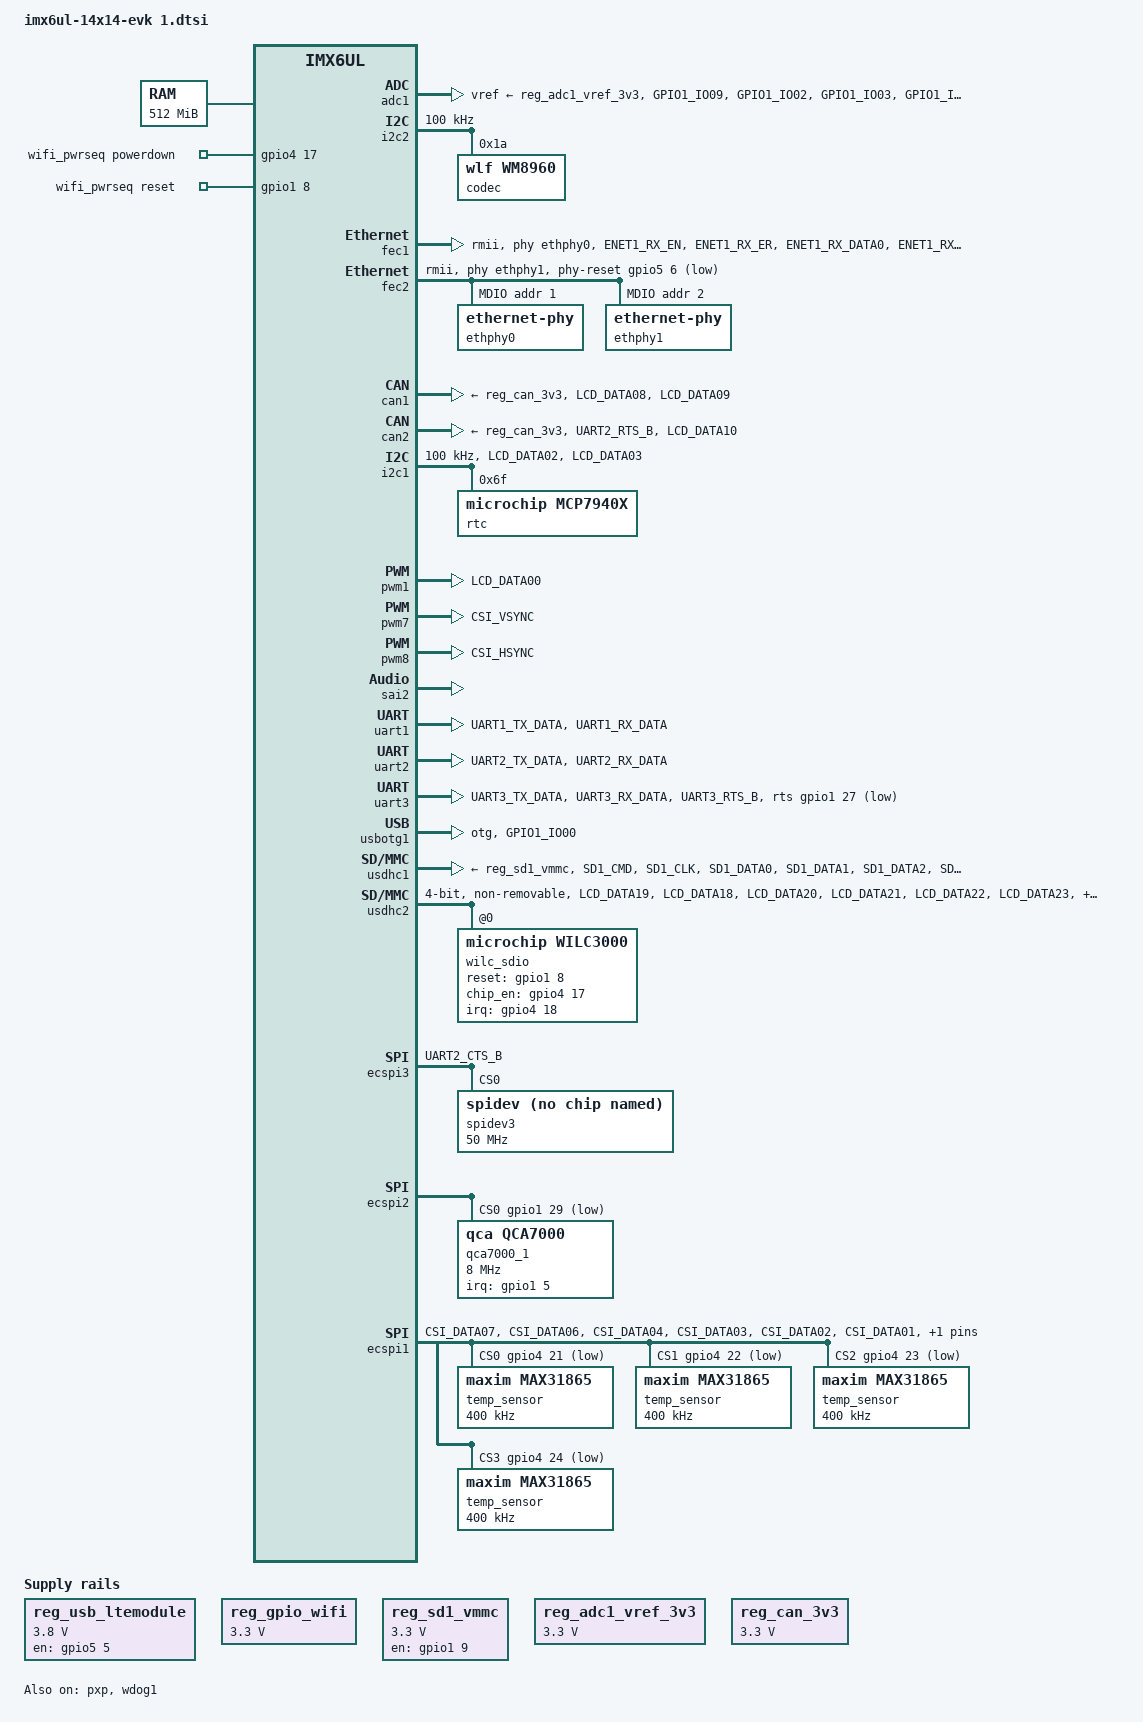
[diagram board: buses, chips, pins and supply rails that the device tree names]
// SPDX-License-Identifier: GPL-2.0
//
// Copyright (C) 2015 Freescale Semiconductor, Inc.

/ {
	chosen {
		stdout-path = &uart1;
	};

	memory@80000000 {
		device_type = "memory";
		reg = <0x80000000 0x20000000>;
	};

	reserved-memory {
		#address-cells = <1>;
		#size-cells = <1>;
		ranges;

		linux,cma {
			compatible = "shared-dma-pool";
			reusable;
			size = <0xa000000>;
			linux,cma-default;
		};
	};

	usdhc2_pwrseq: usdhc2_pwrseq {
		compatible = "mmc-pwrseq-simple";
	};

	wifi_pwrseq: wifi_pwrseq {
      		compatible = "mmc-pwrseq-simple";
      		powerdown-gpios = <&gpio4 17 GPIO_ACTIVE_HIGH>;
      		reset-gpios = <&gpio1 8 GPIO_ACTIVE_HIGH>;
		pinctrl-0 = <&pinctrl_wilc_pwrseq_default>;
		pinctrl-names = "default";
		status = "okay";
    };

	pxp_v4l2 {
		compatible = "fsl,imx6ul-pxp-v4l2", "fsl,imx6sx-pxp-v4l2", "fsl,imx6sl-pxp-v4l2";
		status = "okay";
	};

	reg_usb_ltemodule: regulator@1 {
        	compatible = "regulator-fixed";
            	regulator-name = "ltemodule-pwr";
            	regulator-min-microvolt = <3800000>;
           	regulator-max-microvolt = <3800000>;
            	gpios = <&gpio5 5 GPIO_ACTIVE_HIGH>;
            	enable-active-high;
            	regulator-boot-on;
            	regulator-always-on;
	};

	reg_gpio_wifi: regulator@2 {
            	compatible = "regulator-fixed";
            	regulator-name = "wifi-pwr";
           	regulator-min-microvolt = <3300000>;
            	regulator-max-microvolt = <3300000>;
 	};

	reg_sd1_vmmc: regulator-sd1-vmmc {
		compatible = "regulator-fixed";
		regulator-name = "VSD_3V3";
		regulator-min-microvolt = <3300000>;
		regulator-max-microvolt = <3300000>;
		gpio = <&gpio1 9 GPIO_ACTIVE_HIGH>;
		off-on-delay-us = <20000>;
		enable-active-high;
	};

	reg_adc1_vref_3v3: regulator@5 {
		compatible = "regulator-fixed";
		regulator-name = "vref-3v3";
		regulator-min-microvolt = <3300000>;
		regulator-max-microvolt = <3300000>;
	};

/*
	reg_peri_3v3: regulator-peri-3v3 {
		compatible = "regulator-fixed";
		pinctrl-names = "default";
		pinctrl-0 = <&pinctrl_peri_3v3>;
		regulator-name = "VPERI_3V3";
		regulator-min-microvolt = <3300000>;
		regulator-max-microvolt = <3300000>;
		regulator-always-on;
	}; */

	reg_can_3v3: regulator-can-3v3 {
		compatible = "regulator-fixed";
		regulator-name = "can-3v3";
		regulator-min-microvolt = <3300000>;
		regulator-max-microvolt = <3300000>;
		//gpios = <&gpio_spi 3 GPIO_ACTIVE_LOW>;
		regulator-always-on;
	};
/*
    	leds {
            compatible = "gpio-leds";
            pinctrl-names = "default";
            pinctrl-0 = <&pinctrl_leds>;
            led0: cpu {
                    label = "cpu";
                    gpios = <&gpio5 1 GPIO_ACTIVE_LOW>;
                    default-state = "on";
                    linux,default-trigger = "heartbeat";
            };
    	}; */
/*
	gpio-keys {
            compatible = "gpio-keys";
            pinctrl-names = "default";
            pinctrl-0 = <&pinctrl_gpio_key>;

            user {
                    label = "User Button";
                    gpios = <&gpio5 0 GPIO_ACTIVE_HIGH>;
                    gpio-key,wakeup;
                    linux,code = <KEY_1>;
            };
    	}; */

/*
	sound-wm8960 {
		compatible = "fsl,imx-audio-wm8960";
		model = "wm8960-audio";
		audio-cpu = <&sai2>;
		audio-codec = <&codec>;
		audio-asrc = <&asrc>;
		hp-det-gpio = <&gpio5 4 0>;
		audio-routing =
			"Headphone Jack", "HP_L",
			"Headphone Jack", "HP_R",
			"Ext Spk", "SPK_LP",
			"Ext Spk", "SPK_LN",
			"Ext Spk", "SPK_RP",
			"Ext Spk", "SPK_RN",
			"LINPUT2", "Mic Jack",
			"LINPUT3", "Mic Jack",
			"RINPUT1", "AMIC",
			"RINPUT2", "AMIC",
			"Mic Jack", "MICB",
			"AMIC", "MICB";
	};
*/
};

&clks {
	assigned-clocks = <&clks IMX6UL_CLK_PLL4_AUDIO_DIV>;
	assigned-clock-rates = <786432000>;
};

&adc1 {
    pinctrl-names = "default";
    pinctrl-0 = <&pinctrl_adc1>;
    vref-supply = <&reg_adc1_vref_3v3>;
    num-channels = <10>;
    status = "okay";
};

&i2c2 {
	clock-frequency = <100000>;
	pinctrl-names = "default";
	pinctrl-0 = <&pinctrl_i2c2>;
	status = "okay";

	codec: wm8960@1a {
		#sound-dai-cells = <0>;
		compatible = "wlf,wm8960";
		reg = <0x1a>;
		wlf,shared-lrclk;
		wlf,hp-cfg = <3 2 3>;
		wlf,gpio-cfg = <1 3>;
		clocks = <&clks IMX6UL_CLK_SAI2>;
		clock-names = "mclk";
	};
};

&fec1 {
	pinctrl-names = "default";
	pinctrl-0 = <&pinctrl_enet1>;
	phy-mode = "rmii";
	phy-handle = <&ethphy0>;
	phy-reset-gpios = <&gpio5 9 GPIO_ACTIVE_LOW>;
	phy-reset-duration = <26>;
    phy-reset-post-delay=<20>;
	status = "okay";
};

&fec2 {
	pinctrl-names = "default";
	pinctrl-0 = <&pinctrl_enet2>;
	phy-mode = "rmii";
	phy-handle = <&ethphy1>;
	phy-reset-gpios = <&gpio5 6 GPIO_ACTIVE_LOW>;
	phy-reset-duration = <26>;
    phy-reset-post-delay=<20>;
	status = "okay";

	mdio {
		#address-cells = <1>;
		#size-cells = <0>;

		ethphy0: ethernet-phy@1 {
            reg = <1>;
			micrel,led-mode = <1>;
			clocks = <&clks IMX6UL_CLK_ENET_REF>;
			clock-names = "rmii-ref";
		};

		ethphy1: ethernet-phy@2 {
			reg = <2>;
			micrel,led-mode = <1>;
			clocks = <&clks IMX6UL_CLK_ENET2_REF>;
			clock-names = "rmii-ref";
		};
	};
};

&can1 {
	pinctrl-names = "default";
	pinctrl-0 = <&pinctrl_flexcan1>;
	xceiver-supply = <&reg_can_3v3>;
	status = "okay";
};

&can2 {
	pinctrl-names = "default";
	pinctrl-0 = <&pinctrl_flexcan2>;
	xceiver-supply = <&reg_can_3v3>;
	status = "okay";
};

&i2c1 {
	clock-frequency = <100000>;
	pinctrl-names = "default";
	pinctrl-0 = <&pinctrl_i2c1>;
	status = "okay";
	
	/* MCP79402 RTC */
	rtc@6f {
		compatible = "microchip,mcp7940x";
		reg = <0x6f>;
	};
};

&pwm1 {
	#pwm-cells = <2>;
	pinctrl-names = "default";
	pinctrl-0 = <&pinctrl_pwm1>;
	status = "okay";
};

&pwm7 {
	pinctrl-names = "default";
	pinctrl-0 = <&pinctrl_pwm7>;
	status = "okay";
};

&pwm8 {
	pinctrl-names = "default";
	pinctrl-0 = <&pinctrl_pwm8>;
	status = "okay";
};

&pxp {
	status = "okay";
};

&qspi {
	pinctrl-names = "default";
	pinctrl-0 = <&pinctrl_qspi>;
	status = "disabled";

	flash0: flash@0 {
		#address-cells = <1>;
		#size-cells = <1>;
		compatible = "micron,n25q256a", "jedec,spi-nor";
		spi-max-frequency = <29000000>;
		spi-rx-bus-width = <4>;
		spi-tx-bus-width = <1>;
		reg = <0>;
	};
};

&sai2 {
	pinctrl-names = "default";
	pinctrl-0 = <&pinctrl_sai2>;
	assigned-clocks = <&clks IMX6UL_CLK_SAI2_SEL>,
			  <&clks IMX6UL_CLK_SAI2>;
	assigned-clock-parents = <&clks IMX6UL_CLK_PLL4_AUDIO_DIV>;
	assigned-clock-rates = <0>, <12288000>;
	fsl,sai-mclk-direction-output;
	status = "okay";
};

&snvs_poweroff {
	status = "okay";
};

&snvs_pwrkey {
	status = "disabled";
};

&sim2 {
	pinctrl-names = "default";
	pinctrl-0 = <&pinctrl_sim2>;
	assigned-clocks = <&clks IMX6UL_CLK_SIM_SEL>;
	assigned-clock-parents = <&clks IMX6UL_CLK_SIM_PODF>;
	assigned-clock-rates = <240000000>;
	/* GPIO_ACTIVE_HIGH/LOW:sim card voltage control
	 * NCN8025:Vcc = ACTIVE_HIGH?5V:3V
	 * TDA8035:Vcc = ACTIVE_HIGH?5V:1.8V
	 */
	pinctrl-assert-gpios = <&gpio4 23 GPIO_ACTIVE_HIGH>;
	port = <1>;
	sven_low_active;
	status = "disabled";
};

&uart1 {
	pinctrl-names = "default";
	pinctrl-0 = <&pinctrl_uart1>;
	status = "okay";
};

&uart2 {
	pinctrl-names = "default";
	pinctrl-0 = <&pinctrl_uart2>;
	uart-has-rtscts;
	/* for DTE mode, add below change */
	/* fsl,dte-mode; */
	/* pinctrl-0 = <&pinctrl_uart2dte>; */
	status = "okay";
};

&uart3 {
	pinctrl-names = "default";
	pinctrl-0 = <&pinctrl_uart3>;
	rts-gpios = <&gpio1 27 GPIO_ACTIVE_LOW>;
	rs485-rts-active-low;
	linux,rs485-enabled-at-boot-time;
	status = "okay";
};

&usbotg1 {
	dr_mode = "otg";
	pinctrl-names = "default";
	pinctrl-0 = <&pinctrl_usb_otg1>;
	status = "okay";
};

echo "Hello"

&usbotg2 {
	dr_mode = "host";
	disable-over-current;
	status = "okay";
};

&usbphy1 {
	fsl,tx-d-cal = <5>;
};

&usbphy2 {
	fsl,tx-d-cal = <5>;
};

&usdhc1 {
	pinctrl-names = "default", "state_100mhz", "state_200mhz";
	pinctrl-0 = <&pinctrl_usdhc1>;
	pinctrl-1 = <&pinctrl_usdhc1_100mhz>;
	pinctrl-2 = <&pinctrl_usdhc1_200mhz>;
	cd-gpios = <&gpio1 19 GPIO_ACTIVE_LOW>;
	keep-power-in-suspend;
	wakeup-source;
	vmmc-supply = <&reg_sd1_vmmc>;
	status = "okay";
};

&usdhc2 {
    #address-cells = <1>;
    #size-cells = <0>;
    pinctrl-names = "default";
    pinctrl-0 = <&pinctrl_usdhc2>;
    bus-width = <4>;
    //vmmc-supply = <&reg_gpio_wifi>;
    mmc-pwrseq = <&wifi_pwrseq>;
    //fsl,sdio-async-interrupt-enabled;
    non-removable;
    cap-sdio-irq;
    wifi-host;
    keep-power-in-suspend;
    status = "okay";

    wilc_sdio: wilc3000@0 {
    compatible = "microchip,wilc3000";
	reset-gpios = <&gpio1 8 GPIO_ACTIVE_HIGH>;
	chip_en-gpios = <&gpio4 17 GPIO_ACTIVE_HIGH>;
	interrupt-parent = <&gpio4>;
	interrupts = <18 0>;
        reg = <0>;
    	bus-width = <4>;
    };
};

&wdog1 {
	pinctrl-names = "default";
        pinctrl-0 = <&pinctrl_wdog>;
        status="okay";
        fsl,wdog_b;
        fsl,use-wre;
        fsl,ext-reset-output;
};

&iomuxc {
	pinctrl-names = "default";
	pinctrl_camera_clock: cameraclockgrp {
		fsl,pins = <
			/*MX6UL_PAD_CSI_MCLK__CSI_MCLK		0x1b088*/
		>;
	};

	pinctrl_csi1: csi1grp {
		fsl,pins = <
			/*MX6UL_PAD_CSI_VSYNC__CSI_VSYNC		0x1b088*/
			/*MX6UL_PAD_CSI_HSYNC__CSI_HSYNC		0x1b088*/
			/*MX6UL_PAD_CSI_DATA00__CSI_DATA02	0x1b088*/
			/*MX6UL_PAD_CSI_DATA01__CSI_DATA03	0x1b088*/
			MX6UL_PAD_CSI_DATA02__CSI_DATA04	0x1b088
			/*MX6UL_PAD_CSI_DATA03__CSI_DATA05	0x1b088
			MX6UL_PAD_CSI_DATA04__CSI_DATA06	0x1b088
			MX6UL_PAD_CSI_DATA05__CSI_DATA07	0x1b088
			MX6UL_PAD_CSI_DATA06__CSI_DATA08	0x1b088
			MX6UL_PAD_CSI_DATA07__CSI_DATA09	0x1b088*/
		>;
	};

	pinctrl_enet1: enet1grp {
		fsl,pins = <
			MX6UL_PAD_ENET1_RX_EN__ENET1_RX_EN	0x1b0b0
			MX6UL_PAD_ENET1_RX_ER__ENET1_RX_ER	0x1b0b0
			MX6UL_PAD_ENET1_RX_DATA0__ENET1_RDATA00	0x1b0b0
			MX6UL_PAD_ENET1_RX_DATA1__ENET1_RDATA01	0x1b0b0
			MX6UL_PAD_ENET1_TX_EN__ENET1_TX_EN	0x1b0b0
			MX6UL_PAD_ENET1_TX_DATA0__ENET1_TDATA00	0x1b0b0
			MX6UL_PAD_ENET1_TX_DATA1__ENET1_TDATA01	0x1b0b0
			MX6UL_PAD_ENET1_TX_CLK__ENET1_REF_CLK1	0x4001b031
		>;
	};

	pinctrl_enet2: enet2grp {
		fsl,pins = <
			/*MX6UL_PAD_GPIO1_IO07__ENET2_MDC		0x1b0b0
			MX6UL_PAD_GPIO1_IO06__ENET2_MDIO	0x1b0b0
			MX6UL_PAD_ENET2_RX_EN__ENET2_RX_EN	0x1b0b0
			MX6UL_PAD_ENET2_RX_ER__ENET2_RX_ER	0x1b0b0
			MX6UL_PAD_ENET2_RX_DATA0__ENET2_RDATA00	0x1b0b0
			MX6UL_PAD_ENET2_RX_DATA1__ENET2_RDATA01	0x1b0b0
			MX6UL_PAD_ENET2_TX_EN__ENET2_TX_EN	0x1b0b0
			MX6UL_PAD_ENET2_TX_DATA0__ENET2_TDATA00	0x1b0b0
			MX6UL_PAD_ENET2_TX_DATA1__ENET2_TDATA01	0x1b0b0
			MX6UL_PAD_ENET2_TX_CLK__ENET2_REF_CLK2	0x4001b031*/
		>;
	};

	pinctrl_flexcan1: flexcan1grp{
		fsl,pins = <
			MX6UL_PAD_LCD_DATA08__FLEXCAN1_TX	0x1b020
			MX6UL_PAD_LCD_DATA09__FLEXCAN1_RX	0x1b020
		>;
	};

	pinctrl_flexcan2: flexcan2grp{
		fsl,pins = <
			MX6UL_PAD_UART2_RTS_B__FLEXCAN2_RX	0x1b020
			MX6UL_PAD_LCD_DATA10__FLEXCAN2_TX	0x1b020
		>;
	};

	pinctrl_i2c1: i2c1grp {
		fsl,pins = <
			MX6UL_PAD_LCD_DATA02__I2C4_SDA	0x4001b8b0
			MX6UL_PAD_LCD_DATA03__I2C4_SCL	0x4001b8b0
		>;
	};

	pinctrl_i2c2: i2c2grp {
		fsl,pins = <
			/*MX6UL_PAD_UART5_TX_DATA__I2C2_SCL 0x4001b8b0
			MX6UL_PAD_UART5_RX_DATA__I2C2_SDA 0x4001b8b0*/
		>;
	};

	pinctrl_qspi: qspigrp {
		fsl,pins = <
			MX6UL_PAD_NAND_WP_B__QSPI_A_SCLK	0x70a1
			MX6UL_PAD_NAND_READY_B__QSPI_A_DATA00	0x70a1
			MX6UL_PAD_NAND_CE0_B__QSPI_A_DATA01	0x70a1
			MX6UL_PAD_NAND_CE1_B__QSPI_A_DATA02	0x70a1
			MX6UL_PAD_NAND_CLE__QSPI_A_DATA03	0x70a1
			MX6UL_PAD_NAND_DQS__QSPI_A_SS0_B	0x70a1
		>;
	};
echo "World!"
	pinctrl_sai2: sai2grp {
		fsl,pins = <
			/*MX6UL_PAD_JTAG_TDI__SAI2_TX_BCLK	0x17088*/
			//MX6UL_PAD_JTAG_TDO__SAI2_TX_SYNC	0x17088
			MX6UL_PAD_JTAG_TRST_B__SAI2_TX_DATA	0x11088
			MX6UL_PAD_JTAG_TCK__SAI2_RX_DATA	0x11088
			MX6UL_PAD_JTAG_TMS__SAI2_MCLK		0x17088
			/*MX6UL_PAD_SNVS_TAMPER4__GPIO5_IO04	0x17059*/
		>;
	};

	pinctrl_peri_3v3: peri3v3grp {
		fsl,pins = <
			/*MX6UL_PAD_SNVS_TAMPER2__GPIO5_IO02	0x1b0b0*/
		>;
	};

	pinctrl_pwm1: pwm1grp {
		fsl,pins = <
			MX6UL_PAD_LCD_DATA00__PWM1_OUT   0x110b0
		>;
	};
	
	pinctrl_pwm7: pwm7grp {
		fsl,pins = <
			MX6UL_PAD_CSI_VSYNC__PWM7_OUT	0x110b0
		>;
	};
	
	pinctrl_pwm8: pwm8grp {
		fsl,pins = <
			MX6UL_PAD_CSI_HSYNC__PWM8_OUT	0x110b0
		>;
	};

	pinctrl_sim2: sim2grp {
		fsl,pins = <
			/*MX6UL_PAD_CSI_DATA03__SIM2_PORT1_PD		0xb808
			MX6UL_PAD_CSI_DATA04__SIM2_PORT1_CLK		0x31
			MX6UL_PAD_CSI_DATA05__SIM2_PORT1_RST_B		0xb808
			MX6UL_PAD_CSI_DATA06__SIM2_PORT1_SVEN		0xb808
			MX6UL_PAD_CSI_DATA07__SIM2_PORT1_TRXD		0xb809
			MX6UL_PAD_CSI_DATA02__GPIO4_IO23		0x3008*/
		>;
	};

	pinctrl_spi4: spi4grp {
		fsl,pins = <
			MX6UL_PAD_BOOT_MODE0__GPIO5_IO10	0x70a1
			MX6UL_PAD_BOOT_MODE1__GPIO5_IO11	0x70a1
			MX6UL_PAD_SNVS_TAMPER7__GPIO5_IO07	0x70a1
			/*MX6UL_PAD_SNVS_TAMPER8__GPIO5_IO08	0x80000000*/
		>;
	};

	pinctrl_uart1: uart1grp {
		fsl,pins = <
			MX6UL_PAD_UART1_TX_DATA__UART1_DCE_TX 0x1b0b1
			MX6UL_PAD_UART1_RX_DATA__UART1_DCE_RX 0x1b0b1
		>;
	};

	pinctrl_uart2: uart2grp {
		fsl,pins = <
			MX6UL_PAD_UART2_TX_DATA__UART2_DCE_TX	0x1b0b1
			MX6UL_PAD_UART2_RX_DATA__UART2_DCE_RX	0x1b0b1
		>;
	};

	pinctrl_uart3: uart3grp {
		fsl,pins = <
			MX6UL_PAD_UART3_TX_DATA__UART3_DCE_TX	0x0b0b0
			MX6UL_PAD_UART3_RX_DATA__UART3_DCE_RX	0x0b0b0
			MX6UL_PAD_UART3_RTS_B__GPIO1_IO27		0x0b0b0
		>;
	};

	pinctrl_ecspi1_cs: ecspi1cs {
		fsl,pins = <
			MX6UL_PAD_CSI_DATA03__GPIO4_IO24	0x4001b0b0
			MX6UL_PAD_CSI_DATA02__GPIO4_IO23	0x4001b0b0
			MX6UL_PAD_CSI_DATA01__GPIO4_IO22	0x4001b0b0
			MX6UL_PAD_CSI_DATA00__GPIO4_IO21	0x4001b0b0
		>;
	};

	qca7000_1_pins: qca7000 {
		fsl,pins = <		
			MX6UL_PAD_UART5_RX_DATA__ECSPI2_MISO    0x170f9
			MX6UL_PAD_UART5_TX_DATA__ECSPI2_MOSI    0x170f9
			MX6UL_PAD_UART4_TX_DATA__ECSPI2_SCLK	0x170f9
			MX6UL_PAD_UART4_RX_DATA__GPIO1_IO29		0x4001b0b0
			MX6UL_PAD_LCD_CLK__GPIO3_IO00			0x1b0b0 /* Yellow Bit_1 IRQ */
			//MX6UL_PAD_ENET2_RX_DATA1__GPIO2_IO09	0x10b0 /* Yellow Bit_1 RESET */
			MX6UL_PAD_GPIO1_IO05__GPIO1_IO05	0x1b0b0
		>;
	};
	
	qca7000_2_pins: qca7000 {
		fsl,pins = <		
			MX6UL_PAD_ENET2_TX_CLK__ECSPI4_MISO		0x170f9
			MX6UL_PAD_ENET2_TX_EN__ECSPI4_MOSI		0x170f9
			MX6UL_PAD_ENET2_TX_DATA1__ECSPI4_SCLK	0x170f9
			MX6UL_PAD_ENET2_RX_ER__ECSPI4_SS0		0x4001b0b0
			MX6UL_PAD_ENET2_RX_EN__GPIO2_IO10		0x10b0 /* Yellow Bit_2 IRQ */
			MX6UL_PAD_ENET2_RX_DATA0__GPIO2_IO08	0x10b0 /* Yellow Bit_2 Reset */
		>;
	};
	
	pinctrl_ecspi3: ecspi3grp {
		fsl,pins = <
			MX6UL_PAD_UART2_CTS_B__ECSPI3_MOSI    0x170f9
		>;
	};

	pinctrl_ecspi1: ecspi1grp {
		fsl,pins = <
			/*MX6UL_PAD_CSI_DATA07__ECSPI1_MISO 0x170f9
			MX6UL_PAD_CSI_DATA06__ECSPI1_MOSI 0x170f9
			MX6UL_PAD_CSI_DATA04__ECSPI1_SCLK 0x170f9*/
			MX6UL_PAD_CSI_DATA07__ECSPI1_MISO 0x100b1
			MX6UL_PAD_CSI_DATA06__ECSPI1_MOSI 0x100b1
			MX6UL_PAD_CSI_DATA04__ECSPI1_SCLK 0x100b1
		>;
	};

	pinctrl_usb_otg1: usbotg1grp {
		fsl,pins = <
			MX6UL_PAD_GPIO1_IO00__ANATOP_OTG1_ID	0x17059
		>;
	};

	pinctrl_usdhc1: usdhc1grp {
		fsl,pins = <
			MX6UL_PAD_SD1_CMD__USDHC1_CMD     	0x17059
			MX6UL_PAD_SD1_CLK__USDHC1_CLK		0x10071
			MX6UL_PAD_SD1_DATA0__USDHC1_DATA0 	0x17059
			MX6UL_PAD_SD1_DATA1__USDHC1_DATA1 	0x17059
			MX6UL_PAD_SD1_DATA2__USDHC1_DATA2 	0x17059
			MX6UL_PAD_SD1_DATA3__USDHC1_DATA3 	0x17059
		>;
	};

	pinctrl_usdhc1_100mhz: usdhc1grp100mhz {
		fsl,pins = <
			MX6UL_PAD_SD1_CMD__USDHC1_CMD     0x170b9
			MX6UL_PAD_SD1_CLK__USDHC1_CLK     0x100b9
			MX6UL_PAD_SD1_DATA0__USDHC1_DATA0 0x170b9
			MX6UL_PAD_SD1_DATA1__USDHC1_DATA1 0x170b9
			MX6UL_PAD_SD1_DATA2__USDHC1_DATA2 0x170b9
			MX6UL_PAD_SD1_DATA3__USDHC1_DATA3 0x170b9

		>;
	};

	pinctrl_usdhc1_200mhz: usdhc1grp200mhz {
		fsl,pins = <
			MX6UL_PAD_SD1_CMD__USDHC1_CMD     0x170f9
			MX6UL_PAD_SD1_CLK__USDHC1_CLK     0x100f9
			MX6UL_PAD_SD1_DATA0__USDHC1_DATA0 0x170f9
			MX6UL_PAD_SD1_DATA1__USDHC1_DATA1 0x170f9
			MX6UL_PAD_SD1_DATA2__USDHC1_DATA2 0x170f9
			MX6UL_PAD_SD1_DATA3__USDHC1_DATA3 0x170f9
		>;
	};

	pinctrl_usdhc2: usdhc2grp {
		fsl,pins = <
			MX6UL_PAD_LCD_DATA19__USDHC2_CLK	0x17059
			MX6UL_PAD_LCD_DATA18__USDHC2_CMD     0x17059
			MX6UL_PAD_LCD_DATA20__USDHC2_DATA0 0x17059
			MX6UL_PAD_LCD_DATA21__USDHC2_DATA1 0x17059
			MX6UL_PAD_LCD_DATA22__USDHC2_DATA2 0x17059
			MX6UL_PAD_LCD_DATA23__USDHC2_DATA3 0x17059
			MX6UL_PAD_CSI_PIXCLK__GPIO4_IO18	0x17059
		>;
	};

	pinctrl_wdog: wdoggrp {
		fsl,pins = <
			/*MX6UL_PAD_LCD_RESET__WDOG1_WDOG_ANY    0x30b0*/
		>;
	};

	pinctrl_adc1: adc1grp {
        fsl,pins = <
            MX6UL_PAD_GPIO1_IO09__GPIO1_IO09	0x00080
			MX6UL_PAD_GPIO1_IO02__GPIO1_IO02	0x00080
			MX6UL_PAD_GPIO1_IO03__GPIO1_IO03	0x00080
            //MX6UL_PAD_GPIO1_IO05__GPIO1_IO05	0x00080
			MX6UL_PAD_GPIO1_IO08__GPIO1_IO08	0x00080
        >;
	};

	pinctrl_wilc_pwrseq_default: pinctrl_wilc_pwrseq {
		fsl,pins = <
			MX6UL_PAD_CSI_MCLK__GPIO4_IO17	0x17059
		>;
	};
};

&ecspi3 {
	fsl,spi-num-chipselects = <0>;
	pinctrl-names = "default";
	pinctrl-0 = <&pinctrl_ecspi3>;
	status = "okay";
	
	spidev3: spi@0 {
		compatible = "rohm,dh2228fv";
		reg = <0>;
		spi-max-frequency = <50000000>;
	};
};

&ecspi2 {
	fsl,spi-num-chipselects = <1>;
	cs-gpios = <&gpio1 29 GPIO_ACTIVE_LOW>;
	pinctrl-names = "default";
	status = "okay";

	qca7000_1: ethernet@0 {
		reg = <0>;
		compatible = "qca,qca7000";
		pinctrl-names = "default";
		pinctrl-0 = <&qca7000_1_pins>;
		interrupt-parent = <&gpio1>;
		interrupts = <5 IRQ_TYPE_EDGE_RISING>;
		spi-cpha;
		spi-cpol;
		spi-max-frequency = <8000000>;
	};
};

/*
&ecspi4 {
	fsl,spi-num-chipselects = <1>;
	cs-gpios = <&gpio2 15 GPIO_ACTIVE_LOW>;
	pinctrl-names = "default";
	status = "okay";

	qca7000_2: ethernet@0 {
		reg = <0>;
		compatible = "qca,qca7000";
		pinctrl-names = "default";
		pinctrl-0 = <&qca7000_2_pins>;
		interrupt-parent = <&gpio2>;
		interrupts = <10 IRQ_TYPE_EDGE_RISING>;
		spi-cpha;
		spi-cpol;
		spi-max-frequency = <8000000>;
	};
};*/

&ecspi1 {
	compatible = "fsl,imx6ul-ecspi";
	fsl,spi-num-chipselects = <4>;
	cs-gpios = <&gpio4 21 GPIO_ACTIVE_LOW>, <&gpio4 22 GPIO_ACTIVE_LOW>, <&gpio4 23 GPIO_ACTIVE_LOW>, <&gpio4 24 GPIO_ACTIVE_LOW>;
	pinctrl-names = "default";
	pinctrl-0 = <&pinctrl_ecspi1 &pinctrl_ecspi1_cs>;
	status = "okay";

	temp_sensor@0 {
        compatible = "maxim,max31865";
        reg = <0>;
        spi-max-frequency = <400000>;
        spi-cpha;
        maxim,2-wire;
    };
	temp_sensor@1 {
        compatible = "maxim,max31865";
        reg = <1>;
        spi-max-frequency = <400000>;
        spi-cpha;
        maxim,2-wire;
    };
	temp_sensor@2 {
        compatible = "maxim,max31865";
        reg = <2>;
        spi-max-frequency = <400000>;
        spi-cpha;
        maxim,2-wire;
	};
	temp_sensor@3 {
        compatible = "maxim,max31865";
        reg = <3>;
        spi-max-frequency = <400000>;
        spi-cpha;
        maxim,2-wire;
	};
};
